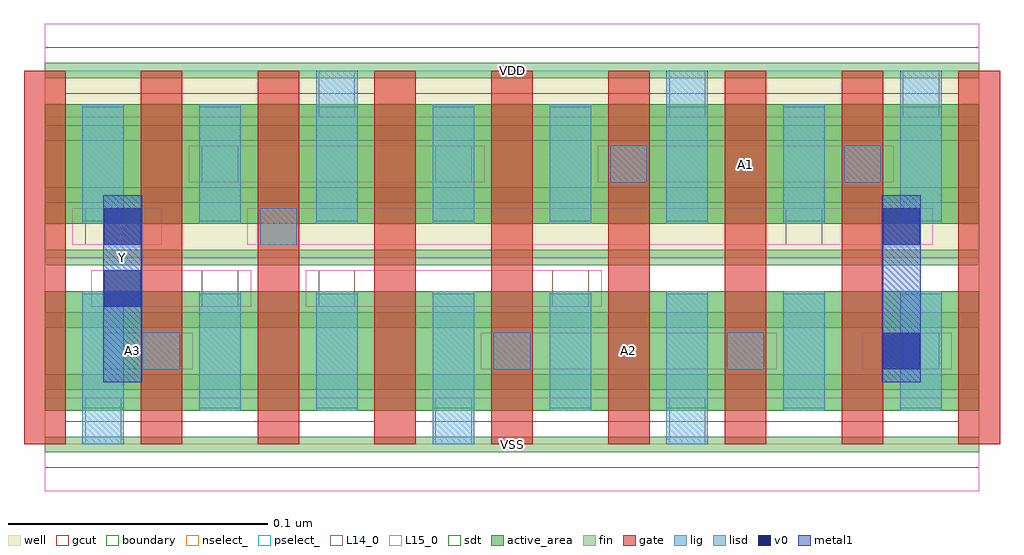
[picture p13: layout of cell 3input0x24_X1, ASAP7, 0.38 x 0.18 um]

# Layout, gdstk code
import gdstk
lib = gdstk.Library(unit=1e-6, precision=2.5e-10)
def R(c, l, rs):  # rectangles x0, y0, x1, y1
    for r in rs: c.add(gdstk.rectangle(r[:2], r[2:], *l))
def A(c, l, x, y, w, h, nx, ny, dx, dy):  # array of equal rectangles
    R(c, l, [(x+i*dx, y+j*dy, x+i*dx+w, y+j*dy+h) for i in range(nx) for j in range(ny)])
def P(c, l, *ps):  # polygons
    for p in ps: c.add(gdstk.Polygon(p, *l))
well = (1, 0)
fin = (2, 0)
gate = (7, 0)
gcut = (10, 0)
active_area = (11, 0)
nselect_ = (12, 0)
pselect_ = (13, 0)
L14_0 = (14, 0)
L15_0 = (15, 0)
lig = (16, 0)
lisd = (17, 0)
v0 = (18, 0)
metal1 = (19, 0)
sdt = (88, 0)
boundary = (100, 0)

c_3input0x24_x1 = lib.new_cell('3input0x24_X1')
R(c_3input0x24_x1, well, [(0,0.072,0.36,0.144)])
A(c_3input0x24_x1, fin, 0, -0.003, 0.36, 0.006, 1, 7, 0, 0.024)
A(c_3input0x24_x1, gate, -0.008, 0, 0.016, 0.144, 9, 1, 0.045, 0)
P(c_3input0x24_x1, gcut, [(0,-0.009),(0,0),(-0.008,0),(-0.008,0.135),(0.008,0.135),(0.008,0.009),(0.127,0.009),(0.127,0.135),(0.143,0.135),(0.143,0.009),(0.352,0.009),(0.352,0.135),(-0.008,0.135),(-0.008,0.144),(0,0.144),(0,0.153),(0.36,0.153),(0.36,0.144),(0.368,0.144),(0.368,0),(0.36,0),(0.36,-0.009)])
R(c_3input0x24_x1, active_area, [(0,0.013,0.36,0.059), (0,0.085,0.36,0.131)])
R(c_3input0x24_x1, nselect_, [(0,0,0.36,0.072)])
R(c_3input0x24_x1, pselect_, [(0,0.072,0.36,0.144)])
R(c_3input0x24_x1, L14_0, [(0.0155,0,0.0295,0.018), (0.1505,0,0.1645,0.018), (0.2405,0,0.2545,0.018), (0.038,0.029,0.052,0.043), (0.173,0.029,0.187,0.043), (0.263,0.029,0.277,0.043), (0.3305,0.029,0.3445,0.043), (0.0605,0.053,0.0745,0.067), (0.1055,0.053,0.1195,0.067), (0.1955,0.053,0.2095,0.067), (0.0155,0.077,0.0295,0.091), (0.083,0.077,0.097,0.091), (0.2855,0.077,0.2995,0.091), (0.0605,0.101,0.0745,0.115), (0.1505,0.101,0.1645,0.115), (0.218,0.101,0.232,0.115), (0.308,0.101,0.322,0.115), (0.1055,0.126,0.1195,0.144), (0.2405,0.126,0.2545,0.144), (0.3305,0.126,0.3445,0.144)])
R(c_3input0x24_x1, L15_0, [(0,-0.018,0.36,0.018), (0.0225,0.029,0.057,0.043), (0.168,0.029,0.282,0.043), (0.315,0.029,0.3495,0.043), (0.018,0.053,0.0795,0.067), (0.1005,0.053,0.2145,0.067), (0.0105,0.077,0.045,0.091), (0.078,0.077,0.342,0.091), (0.0555,0.101,0.1695,0.115), (0.213,0.101,0.327,0.115), (0,0.126,0.36,0.162)])
R(c_3input0x24_x1, lig, [(0.038,0.029,0.052,0.043), (0.173,0.029,0.187,0.043), (0.263,0.029,0.277,0.043), (0.083,0.077,0.097,0.091), (0.218,0.101,0.232,0.115), (0.308,0.101,0.322,0.115)])
A(c_3input0x24_x1, lisd, 0.1045, 0.013, 0.016, 0.046, 3, 1, 0.09, 0)
R(c_3input0x24_x1, lisd, [(0.0145,0,0.0305,0.059), (0.1495,0,0.1655,0.059), (0.2395,0,0.2555,0.059), (0.0595,0.013,0.0755,0.059), (0.3295,0.013,0.3455,0.059), (0.0145,0.085,0.0305,0.131), (0.0595,0.085,0.0755,0.131), (0.1045,0.085,0.1205,0.144), (0.1495,0.085,0.1655,0.131), (0.1945,0.085,0.2105,0.131), (0.2395,0.085,0.2555,0.144), (0.2845,0.085,0.3005,0.131), (0.3295,0.085,0.3455,0.144)])
R(c_3input0x24_x1, v0, [(0.323,0.029,0.337,0.043), (0.023,0.053,0.037,0.067), (0.023,0.077,0.037,0.091), (0.323,0.077,0.337,0.091)])
R(c_3input0x24_x1, metal1, [(0.0225,0.024,0.0375,0.096), (0.3225,0.024,0.3375,0.096)])
A(c_3input0x24_x1, sdt, 0.0145, 0.014, 0.016, 0.044, 8, 2, 0.045, 0.072)
R(c_3input0x24_x1, boundary, [(0,0,0.36,0.144)])
c_3input0x24_x1.add(gdstk.Label('A2', (0.225,0.036), layer=15, texttype=251))
c_3input0x24_x1.add(gdstk.Label('VSS', (0.18,0), layer=15, texttype=251))
c_3input0x24_x1.add(gdstk.Label('VDD', (0.18,0.144), layer=15, texttype=251))
c_3input0x24_x1.add(gdstk.Label('A3', (0.0338,0.036), layer=15, texttype=251))
c_3input0x24_x1.add(gdstk.Label('VSS', (0.18,0), layer=15, texttype=251))
c_3input0x24_x1.add(gdstk.Label('VDD', (0.18,0.144), layer=15, texttype=251))
c_3input0x24_x1.add(gdstk.Label('VSS', (0.18,0), layer=15, texttype=251))
c_3input0x24_x1.add(gdstk.Label('VDD', (0.18,0.144), layer=15, texttype=251))
c_3input0x24_x1.add(gdstk.Label('A1', (0.27,0.108), layer=15, texttype=251))
c_3input0x24_x1.add(gdstk.Label('VSS', (0.18,0), layer=15, texttype=251))
c_3input0x24_x1.add(gdstk.Label('VDD', (0.18,0.144), layer=15, texttype=251))
c_3input0x24_x1.add(gdstk.Label('VSS', (0.18,0), layer=3, texttype=251))
c_3input0x24_x1.add(gdstk.Label('VSS', (0.18,0), layer=3, texttype=251))
c_3input0x24_x1.add(gdstk.Label('VSS', (0.18,0), layer=3, texttype=251))
c_3input0x24_x1.add(gdstk.Label('VSS', (0.18,0), layer=3, texttype=251))
c_3input0x24_x1.add(gdstk.Label('VDD', (0.18,0.144), layer=1, texttype=251))
c_3input0x24_x1.add(gdstk.Label('VDD', (0.18,0.144), layer=1, texttype=251))
c_3input0x24_x1.add(gdstk.Label('VDD', (0.18,0.144), layer=1, texttype=251))
c_3input0x24_x1.add(gdstk.Label('VDD', (0.18,0.144), layer=1, texttype=251))
c_3input0x24_x1.add(gdstk.Label('Y', (0.03,0.072), layer=19, texttype=251))

lib.write_gds('3input0x24_X1.gds')
